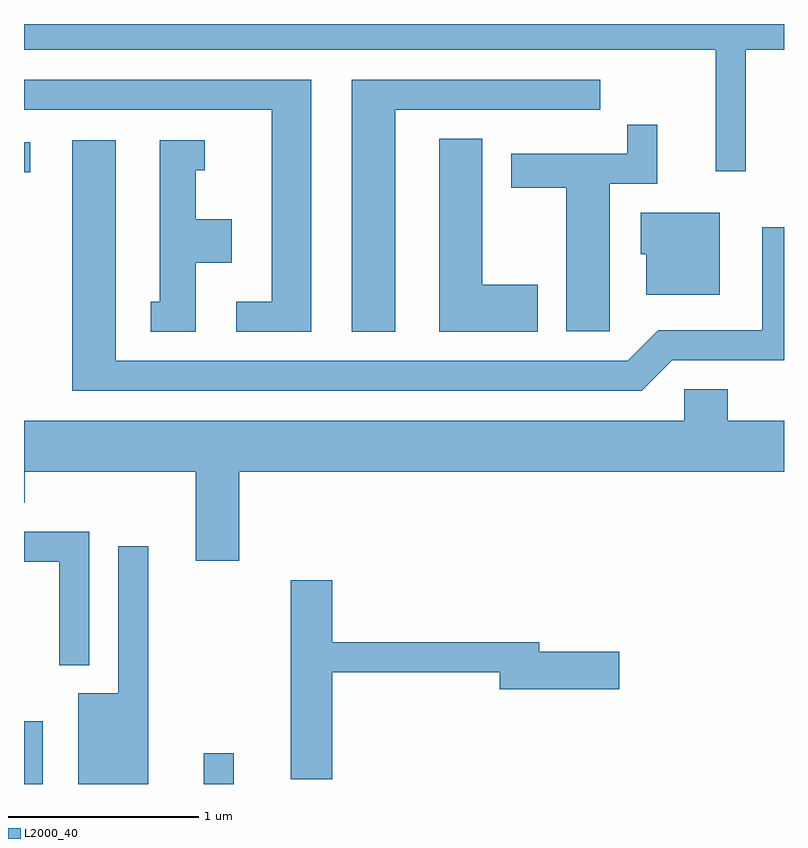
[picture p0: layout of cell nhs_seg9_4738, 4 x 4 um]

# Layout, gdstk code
import gdstk
lib = gdstk.Library(unit=1e-6, precision=1e-09)
def R(c, l, rs):  # rectangles x0, y0, x1, y1
    for r in rs: c.add(gdstk.rectangle(r[:2], r[2:], *l))
def P(c, l, *ps):  # polygons
    for p in ps: c.add(gdstk.Polygon(p, *l))
L2000_40 = (2000, 40)

nhs_seg9_4738 = lib.new_cell('nhs_seg9_4738')
R(nhs_seg9_4738, L2000_40, [(325.611,1952.432,325.709,1952.763), (326.556,1952.432,326.714,1952.593), (325.611,1955.651,325.643,1955.809)])
P(nhs_seg9_4738, L2000_40, [(329.409,1956.296),(329.611,1956.296),(329.611,1956.432),(325.611,1956.432),(325.611,1956.296),(329.251,1956.296),(329.251,1955.658),(329.409,1955.658)],
  [(327.564,1955.981),(328.643,1955.981),(328.643,1956.139),(327.336,1956.139),(327.336,1954.811),(327.564,1954.811)],
  [(327.124,1956.139),(325.611,1956.139),(325.611,1955.981),(326.916,1955.981),(326.916,1954.969),(326.728,1954.969),(326.728,1954.811),(327.124,1954.811)],
  [(328.694,1955.591),(328.944,1955.591),(328.944,1955.903),(328.786,1955.903),(328.786,1955.749),(328.176,1955.749),(328.176,1955.571),(328.466,1955.571),(328.466,1954.816),(328.694,1954.816)],
  [(328.314,1955.059),(328.024,1955.059),(328.024,1955.829),(327.796,1955.829),(327.796,1954.811),(328.314,1954.811)],
  [(329.022,1954.661),(329.611,1954.661),(329.611,1955.363),(329.496,1955.363),(329.496,1954.819),(328.949,1954.819),(328.789,1954.659),(326.094,1954.659),(326.094,1955.819),(325.866,1955.819),(325.866,1954.501),(328.862,1954.501)],
  [(326.514,1955.176),(326.704,1955.176),(326.704,1955.404),(326.514,1955.404),(326.514,1955.661),(326.563,1955.661),(326.563,1955.819),(326.326,1955.819),(326.326,1954.969),(326.278,1954.969),(326.278,1954.811),(326.514,1954.811)],
  [(329.274,1955.439),(328.856,1955.439),(328.856,1955.221),(328.886,1955.221),(328.886,1955.006),(329.274,1955.006)],
  [(326.744,1954.076),(329.611,1954.076),(329.611,1954.344),(329.314,1954.344),(329.314,1954.509),(329.086,1954.509),(329.086,1954.344),(325.611,1954.344),(325.611,1953.911),(325.614,1953.911),(325.614,1954.076),(326.516,1954.076),(326.516,1953.606),(326.744,1953.606)],
  [(325.954,1953.759),(325.611,1953.759),(325.611,1953.601),(325.796,1953.601),(325.796,1953.058),(325.954,1953.058)],
  [(326.264,1953.683),(326.106,1953.683),(326.106,1952.909),(325.896,1952.909),(325.896,1952.432),(326.264,1952.432)],
  [(327.234,1953.021),(328.116,1953.021),(328.116,1952.931),(328.744,1952.931),(328.744,1953.129),(328.324,1953.129),(328.324,1953.179),(327.234,1953.179),(327.234,1953.504),(327.016,1953.504),(327.016,1952.456),(327.234,1952.456)])

lib.write_gds('nhs_seg9_4738.gds')
